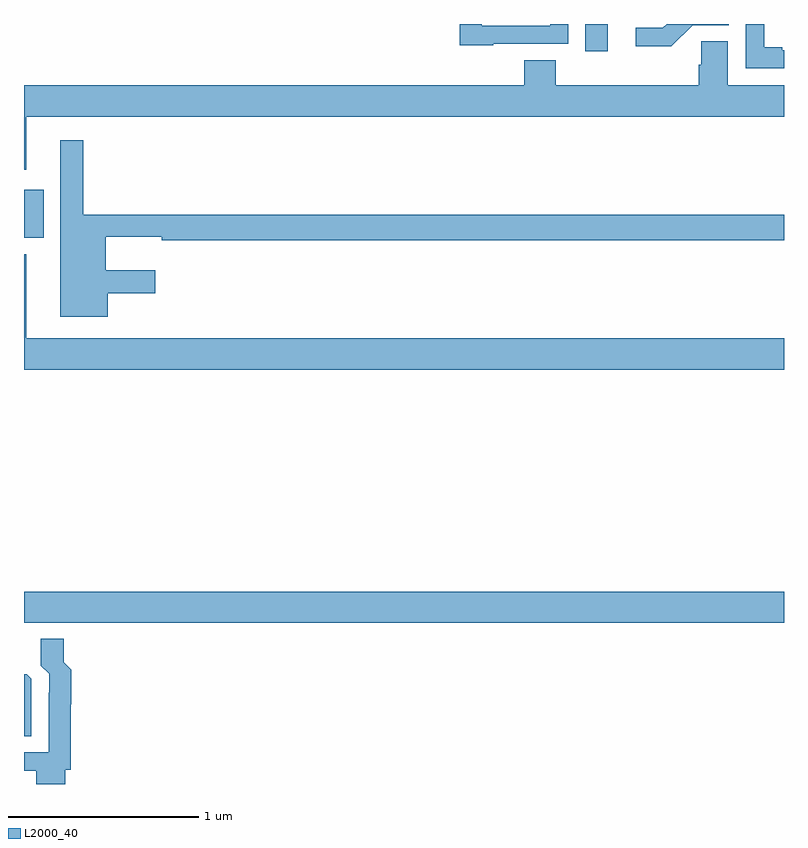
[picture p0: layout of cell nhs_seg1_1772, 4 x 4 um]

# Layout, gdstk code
import gdstk
lib = gdstk.Library(unit=1e-6, precision=1e-09)
def R(c, l, rs):  # rectangles x0, y0, x1, y1
    for r in rs: c.add(gdstk.rectangle(r[:2], r[2:], *l))
def P(c, l, *ps):  # polygons
    for p in ps: c.add(gdstk.Polygon(p, *l))
L2000_40 = (2000, 40)

nhs_seg1_1772 = lib.new_cell('nhs_seg1_1772')
R(nhs_seg1_1772, L2000_40, [(207,569.048,211,569.212), (207,571.073,207.103,571.327), (209.955,572.055,210.073,572.199)])
P(nhs_seg1_1772, L2000_40, [(211,572.061),(210.991,572.061),(210.991,572.076),(210.895,572.076),(210.895,572.199),(210.798,572.199),(210.798,571.965),(211,571.965)],
  [(210.519,572.193),(210.708,572.193),(210.708,572.199),(210.384,572.199),(210.363,572.178),(210.219,572.178),(210.219,572.081),(210.406,572.081)],
  [(209.469,572.094),(209.865,572.094),(209.865,572.199),(209.769,572.199),(209.769,572.19),(209.409,572.19),(209.409,572.199),(209.293,572.199),(209.293,572.087),(209.469,572.087)],
  [(211,571.876),(210.703,571.876),(210.703,572.108),(210.564,572.108),(210.564,571.985),(210.551,571.985),(210.551,571.876),(209.798,571.876),(209.798,572.009),(209.633,572.009),(209.633,571.876),(207,571.876),(207,571.431),(207.013,571.431),(207.013,571.712),(211,571.712)],
  [(207.442,570.782),(207.691,570.782),(207.691,570.904),(207.43,570.904),(207.43,571.079),(207.726,571.079),(207.726,571.06),(211,571.06),(211,571.196),(207.313,571.196),(207.313,571.588),(207.191,571.588),(207.191,570.659),(207.442,570.659)],
  [(211,570.544),(207.013,570.544),(207.013,570.988),(207,570.988),(207,570.38),(211,570.38)],
  [(207.218,568.275),(207.245,568.275),(207.245,568.618),(207.248,568.618),(207.248,568.8),(207.209,568.839),(207.209,568.963),(207.089,568.963),(207.089,568.822),(207.132,568.779),(207.132,568.679),(207.129,568.679),(207.129,568.365),(207,568.365),(207,568.268),(207.065,568.268),(207.065,568.199),(207.218,568.199)],
  [(207.039,568.752),(207.015,568.776),(207,568.776),(207,568.45),(207.039,568.45)])

lib.write_gds('nhs_seg1_1772.gds')
